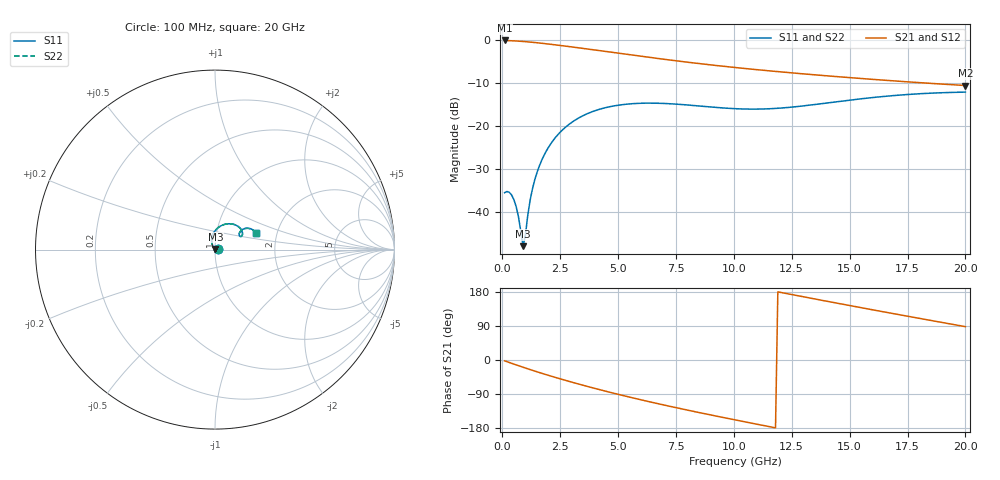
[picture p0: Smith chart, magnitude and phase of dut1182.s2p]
! Touchstone file exported from HFSS 2024.1.0
!  File:  C:/UserFiles/LocalFiles/RDL_TSV_Batchsim/temp_RDL_TSV_1182_1780126135.aedt
!  Generated:  03:40:21 PM May 30, 2026
!  Design:  RDL_TSV
!  Project:  temp_RDL_TSV_1182_1780126135
!  Setup:  Setup1
!  Solution:  Sweep
! Variables:
!  dtsv = 13.89um
!  hbump = 3um
!  htsv = 54.19um
!  ldown = 552.3um
!  lrdl = 693.63um
!  p = 40
!  p1 = 40.98um
!  rhole = 10um
!  subl = 4431.42um
!  t = 450um
!  tdown = 4.66um
!  trdl = 4.98um
!  viad = 10um
!  wdown = 14.26um
!  wrdl = 27.34um
!  xbump = 18um
# GHz S MA R 50.000000
! Terminal data exported
! Port[1] = TM1_1_T1
! Port[2] = TM1_4_T1
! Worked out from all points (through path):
!   200 points, 100 MHz to 20 GHz, reference 50 ohm
!   highest |S21| = -0.15 dB at 100 MHz (marker M1); lowest = -10.6 dB at 20 GHz (marker M2)
!   group delay of S21, straight-line fit = 36.2 ps
!   lowest |S11| = -48.0 dB at 900 MHz (marker M3), VSWR 1.01, Z = 50.3 + j0.304 ohm
!   |S11| at or under -10 dB: start of sweep to end of sweep
!   |S22| runs from -48.0 to -12.1 dB; largest |S21 - S12| = 2.3e-14
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0.1  0.01675 3.0  0.9827 -2.3  0.9827 -2.3  0.01674 3.0
! Gamma 0 0 0 0
! Port Impedance 50 0 50 0
0.3  0.01694 0.1  0.9781 -6.6  0.9781 -6.6  0.01694 0.2
0.5  0.01391 -3.7  0.9724 -10.9  0.9724 -10.9  0.01391 -3.7
0.7  0.008749 -0.2  0.9654 -15.1  0.9654 -15.1  0.00875 -0.2
0.9  0.004002 49.1  0.9568 -19.2  0.9568 -19.2  0.004003 49.1
1  0.005442 95.9  0.952 -21.3  0.952 -21.3  0.005443 95.9
1.1  0.009133 113.8  0.9469 -23.3  0.9469 -23.3  0.009136 113.8
1.2  0.01359 119.4  0.9416 -25.3  0.9416 -25.3  0.01359 119.4
1.3  0.01843 120.9  0.936 -27.3  0.936 -27.3  0.01843 120.9
1.5  0.0288 119.4  0.9243 -31.2  0.9243 -31.2  0.02881 119.4
1.7  0.03975 115.8  0.912 -35.0  0.912 -35.0  0.03977 115.9
2  0.05664 109.4  0.8928 -40.7  0.8928 -40.7  0.05667 109.4
2.4  0.07899 100.4  0.8666 -48.0  0.8666 -48.0  0.07904 100.4
2.9  0.1051 89.7  0.8335 -56.7  0.8335 -56.7  0.1051 89.7
3.5  0.1319 78.0  0.794 -66.9  0.794 -66.9  0.1321 78.1
4.9  0.172 55.8  0.7061 -89.1  0.7061 -89.1  0.1723 55.8
6.8  0.183 35.9  0.6027 -116.4  0.6027 -116.4  0.1833 35.8
8.4  0.1712 27.8  0.5333 -137.4  0.5333 -137.4  0.1716 27.7
10.1  0.1582 27.6  0.4751 -158.6  0.4751 -158.6  0.1585 27.5
13.4  0.1758 35.9  0.3937 162.2  0.3937 162.2  0.1758 35.7
16.7  0.2225 32.2  0.3362 124.5  0.3362 124.5  0.2227 32.0
20  0.2467 21.9  0.2945 88.0  0.2945 88.0  0.2471 21.7
